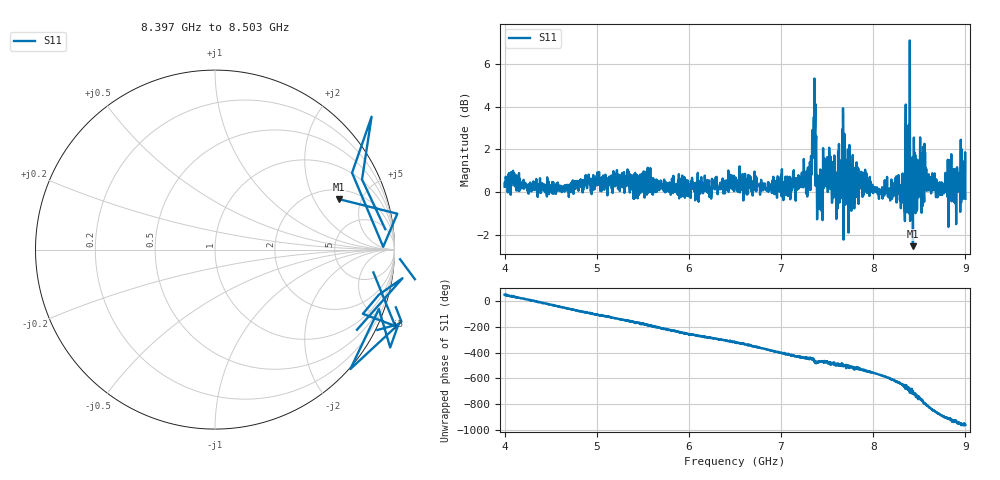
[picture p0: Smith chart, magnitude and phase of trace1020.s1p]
! Created with skrf 1.8.0 (http://scikit-rf.org).
# Hz S RI R 50.0
!freq ReS11 ImS11
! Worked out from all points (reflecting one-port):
!   1601 points, 4 GHz to 9 GHz, reference 50 ohm
!   lowest |S11| = -2.5 dB at 8.431 GHz (marker M1), VSWR 6.87, Z = 127 + j161 ohm
!   phase of S11 starts at 53 deg and turns -1014 deg over the sweep
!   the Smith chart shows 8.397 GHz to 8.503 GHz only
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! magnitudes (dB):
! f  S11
! 4 GHz  0.3
! 4.625 GHz  0.0
! 5.25 GHz  0.0
! 5.875 GHz  -0.1
! 6.5 GHz  0.2
! 7.125 GHz  0.6
! 7.297 GHz  0.6
! 7.356 GHz  3.5
! 7.412 GHz  -0.8
! 7.512 GHz  1.4
! 7.591 GHz  0.8
! 7.638 GHz  0.5
! 7.65 GHz  1.4
! 7.75 GHz  1.1
! 7.844 GHz  0.2
! 8.097 GHz  0.2
! 8.259 GHz  0.6
! 8.319 GHz  0.9
! 8.328 GHz  0.3
! 8.356 GHz  -0.2
! 8.375 GHz  0.3
! 8.431 GHz  -2.5
! 8.522 GHz  1.8
! 8.712 GHz  0.3
! 8.853 GHz  0.6
! 8.875 GHz  0.2
! 8.972 GHz  0.6
! 9 GHz  -0.3
